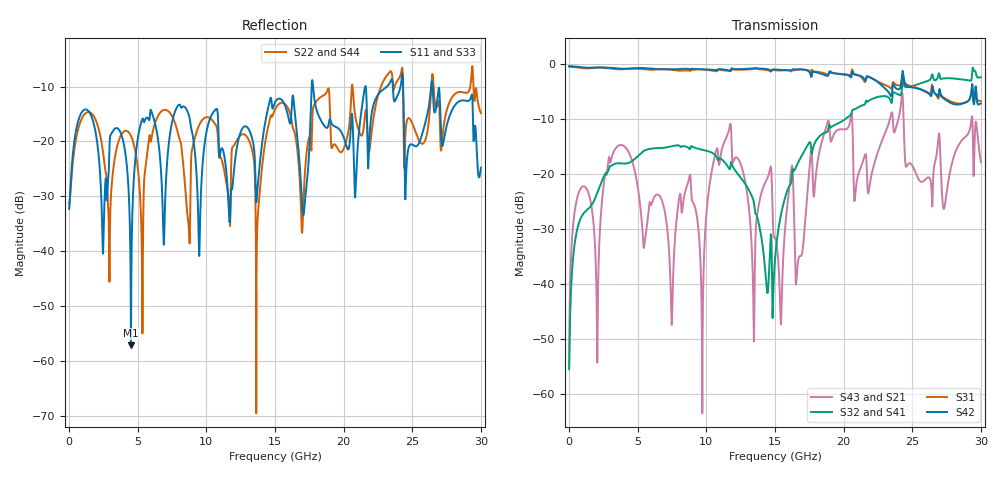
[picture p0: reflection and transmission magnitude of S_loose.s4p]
!MTL model of S_loose, calibrated on full-wave A (medium)
# Hz S RI R 50.0
!freq ReS11 ImS11 ReS12 ImS12 ReS13 ImS13
! ReS14 ImS14
! ReS21 ImS21 ReS22 ImS22 ReS23 ImS23
! ReS24 ImS24
! ReS31 ImS31 ReS32 ImS32 ReS33 ImS33
! ReS34 ImS34
! ReS41 ImS41 ReS42 ImS42 ReS43 ImS43
! ReS44 ImS44
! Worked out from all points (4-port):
!   3000 points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, 10 MHz to 30 GHz, reference 50 ohm
!   strongest paths, dB at 10 MHz, 7.51 GHz, 15.01 GHz, 22.51 GHz, 30 GHz:
!     S42: -0.4, -1.0, -1.0, -3.3, -7.2
!     S31: -0.5, -1.1, -1.1, -3.2, -6.8
!     S32: -55.5, -14.9, -35.4, -6.0, -2.4
!     S41: -55.5, -14.9, -35.4, -6.0, -2.4
!     S43: -54.9, -45.8, -31.7, -15.9, -17.9
!     S21: -54.9, -45.8, -31.7, -15.9, -17.9
!   lowest |S11| = -57.2 dB at 4.51 GHz (marker M1), VSWR 1.00, Z = 49.9 - j0.112 ohm
!   |S11| at or under -10 dB: start of sweep to 17.67 GHz; 17.78 GHz to 21.57 GHz (3.795 GHz wide, 19.3 % of centre); 26.48 GHz to end of sweep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
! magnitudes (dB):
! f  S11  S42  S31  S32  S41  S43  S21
! 10 MHz  -32.3  -0.4  -0.5  -55.5  -55.5  -54.9  -54.9
! 4.51 GHz  -57.2  -0.8  -0.9  -17.8  -17.8  -17.0  -17.0
! 9.69 GHz  -25.6  -1.0  -1.0  -15.6  -15.6  -53.8  -53.8
! 10.7 GHz  -14.1  -1.1  -1.3  -16.7  -16.7  -15.9  -15.9
! 14.43 GHz  -14.8  -0.9  -1.1  -41.5  -41.5  -20.9  -20.9
! 15.42 GHz  -12.3  -1.1  -1.2  -27.7  -27.7  -47.1  -47.1
! 30 GHz  -24.8  -7.2  -6.8  -2.4  -2.4  -17.9  -17.9
